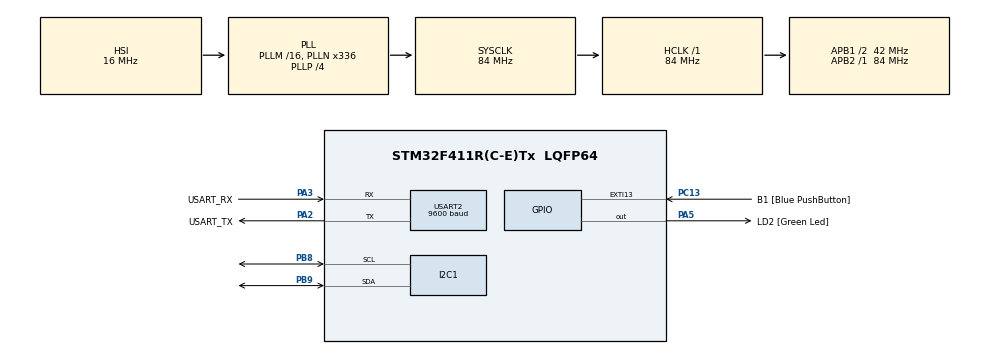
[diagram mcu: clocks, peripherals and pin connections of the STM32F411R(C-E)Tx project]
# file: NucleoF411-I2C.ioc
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Mcu.Family=STM32F4
Mcu.Name=STM32F411R(C-E)Tx
Mcu.Package=LQFP64
NVIC.PriorityGroup=NVIC_PRIORITYGROUP_0
PA13.GPIO_Label=TMS
PA13.Signal=SYS_JTMS-SWDIO
PA14.GPIO_Label=TCK
PA14.Signal=SYS_JTCK-SWCLK
PA2.GPIO_Label=USART_TX
PA2.Mode=Asynchronous
PA2.Signal=USART2_TX
PA3.GPIO_Label=USART_RX
PA3.Mode=Asynchronous
PA3.Signal=USART2_RX
PA5.GPIO_Label=LD2 [Green Led]
PA5.Signal=GPIO_Output
PB3.GPIO_Label=SWO
PB3.Signal=SYS_JTDO-SWO
PB8.Mode=I2C
PB8.Signal=I2C1_SCL
PB9.Mode=I2C
PB9.Signal=I2C1_SDA
PC13-ANTI_TAMP.GPIO_Label=B1 [Blue PushButton]
PC13-ANTI_TAMP.GPIO_ModeDefaultEXTI=GPIO_MODE_IT_FALLING
PC13-ANTI_TAMP.Signal=GPXTI13
PC14-OSC32_IN.Signal=RCC_OSC32_IN
PC15-OSC32_OUT.Signal=RCC_OSC32_OUT
PH0\ -\ OSC_IN.Signal=RCC_OSC_IN
PH1\ -\ OSC_OUT.Signal=RCC_OSC_OUT
ProjectManager.HeapSize=0x200
ProjectManager.StackSize=0x400
ProjectManager.TargetToolchain=SW4STM32
RCC.48MHZClocksFreq_Value=84000000
RCC.AHBFreq_Value=84000000
RCC.APB1CLKDivider=RCC_HCLK_DIV2
RCC.APB1Freq_Value=42000000
RCC.APB1TimFreq_Value=84000000
RCC.APB2Freq_Value=84000000
RCC.APB2TimFreq_Value=84000000
RCC.CortexFreq_Value=84000000
RCC.FLatency-AdvancedSettings=FLASH_LATENCY_2
RCC.HCLKFreq_Value=84000000
RCC.HSE_VALUE=8000000
RCC.HSI_VALUE=16000000
RCC.LSE_VALUE=32768
RCC.PLLN=336
RCC.PLLP=RCC_PLLP_DIV4
RCC.SYSCLKFreq_VALUE=84000000
RCC.SYSCLKSource=RCC_SYSCLKSOURCE_PLLCLK
RCC.VCOOutputFreq_Value=336000000
USART2.BaudRate=9600
USART2.VirtualMode=VM_ASYNC
board=NUCLEO-F411RE

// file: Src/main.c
/**
  ******************************************************************************
  * File Name          : main.c
  * Description        : Main program body
  ******************************************************************************
  ** This notice applies to any and all portions of this file
  * that are not between comment pairs USER CODE BEGIN and
  * USER CODE END. Other portions of this file, whether
  * inserted by the user or by software development tools
  * are owned by their respective copyright owners.
  *
  * COPYRIGHT(c) 2017 STMicroelectronics
  *
  * Redistribution and use in source and binary forms, with or without modification,
  * are permitted provided that the following conditions are met:
  *   1. Redistributions of source code must retain the above copyright notice,
  *      this list of conditions and the following disclaimer.
  *   2. Redistributions in binary form must reproduce the above copyright notice,
  *      this list of conditions and the following disclaimer in the documentation
  *      and/or other materials provided with the distribution.
  *   3. Neither the name of STMicroelectronics nor the names of its contributors
  *      may be used to endorse or promote products derived from this software
  *      without specific prior written permission.
  *
  * THIS SOFTWARE IS PROVIDED BY THE COPYRIGHT HOLDERS AND CONTRIBUTORS "AS IS"
  * AND ANY EXPRESS OR IMPLIED WARRANTIES, INCLUDING, BUT NOT LIMITED TO, THE
  * IMPLIED WARRANTIES OF MERCHANTABILITY AND FITNESS FOR A PARTICULAR PURPOSE ARE
  * DISCLAIMED. IN NO EVENT SHALL THE COPYRIGHT HOLDER OR CONTRIBUTORS BE LIABLE
  * FOR ANY DIRECT, INDIRECT, INCIDENTAL, SPECIAL, EXEMPLARY, OR CONSEQUENTIAL
  * DAMAGES (INCLUDING, BUT NOT LIMITED TO, PROCUREMENT OF SUBSTITUTE GOODS OR
  * SERVICES; LOSS OF USE, DATA, OR PROFITS; OR BUSINESS INTERRUPTION) HOWEVER
  * CAUSED AND ON ANY THEORY OF LIABILITY, WHETHER IN CONTRACT, STRICT LIABILITY,
  * OR TORT (INCLUDING NEGLIGENCE OR OTHERWISE) ARISING IN ANY WAY OUT OF THE USE
  * OF THIS SOFTWARE, EVEN IF ADVISED OF THE POSSIBILITY OF SUCH DAMAGE.
  *
  ******************************************************************************
  */
#include "main.h"
#include "stm32f4xx_hal.h"

I2C_HandleTypeDef hi2c1;

UART_HandleTypeDef huart2;

/* USER CODE BEGIN PV */
/* Private variables ---------------------------------------------------------*/

/* USER CODE END PV */

void SystemClock_Config(void);
static void MX_GPIO_Init(void);
static void MX_USART2_UART_Init(void);
static void MX_I2C1_Init(void);

/* USER CODE BEGIN PFP */
/* Private function prototypes -----------------------------------------------*/

#define MLX90614_I2CADDR (0x5A<<1)
#define MLX90614_TOBJ1 0x07
#define MLX90614_TIMEOUT 50

/* USER CODE END PFP */

/* USER CODE BEGIN 0 */
int _write( int file, char *ptr, int len )
{
  HAL_UART_Transmit(&huart2,(uint8_t*) ptr, len, 1000);
  return len;
}

/* USER CODE END 0 */

int main(void)
{

  /* MCU Configuration----------------------------------------------------------*/

  /* Reset of all peripherals, Initializes the Flash interface and the Systick. */
  HAL_Init();

  /* Configure the system clock */
  SystemClock_Config();

  /* Initialize all configured peripherals */
  MX_GPIO_Init();
  MX_USART2_UART_Init();
  MX_I2C1_Init();

  /* USER CODE BEGIN 2 */
  uint8_t ret[3];
  int16_t res;
  int16_t temp;
  float tempf;

  /* USER CODE END 2 */

  /* Infinite loop */
  while (1)
  {

  /* USER CODE BEGIN 3 */
	  HAL_I2C_Mem_Read(&hi2c1,
			  	  	  	  MLX90614_I2CADDR,
						  MLX90614_TOBJ1,
						  I2C_MEMADD_SIZE_8BIT,
						  (uint8_t*) ret,
						  3,
						  MLX90614_TIMEOUT);
	  res=ret[0]+(ret[1]<<8);
	  temp=res;
	  temp=2*temp;
	  temp=temp-27315;
	  tempf =temp/100.0f;
	  printf("bjectTemp: %2.2f \n",tempf);
	  HAL_Delay(500);

  }
  /* USER CODE END 3 */

}

/** System Clock Configuration
*/
void SystemClock_Config(void)
{

  RCC_OscInitTypeDef RCC_OscInitStruct;
  RCC_ClkInitTypeDef RCC_ClkInitStruct;

    /**Configure the main internal regulator output voltage
    */
  __HAL_RCC_PWR_CLK_ENABLE();

  __HAL_PWR_VOLTAGESCALING_CONFIG(PWR_REGULATOR_VOLTAGE_SCALE1);

    /**Initializes the CPU, AHB and APB busses clocks
    */
  RCC_OscInitStruct.OscillatorType = RCC_OSCILLATORTYPE_HSI;
  RCC_OscInitStruct.HSIState = RCC_HSI_ON;
  RCC_OscInitStruct.HSICalibrationValue = 16;
  RCC_OscInitStruct.PLL.PLLState = RCC_PLL_ON;
  RCC_OscInitStruct.PLL.PLLSource = RCC_PLLSOURCE_HSI;
  RCC_OscInitStruct.PLL.PLLM = 16;
  RCC_OscInitStruct.PLL.PLLN = 336;
  RCC_OscInitStruct.PLL.PLLP = RCC_PLLP_DIV4;
  RCC_OscInitStruct.PLL.PLLQ = 4;
  if (HAL_RCC_OscConfig(&RCC_OscInitStruct) != HAL_OK)
  {
    _Error_Handler(__FILE__, __LINE__);
  }

    /**Initializes the CPU, AHB and APB busses clocks
    */
  RCC_ClkInitStruct.ClockType = RCC_CLOCKTYPE_HCLK|RCC_CLOCKTYPE_SYSCLK
                              |RCC_CLOCKTYPE_PCLK1|RCC_CLOCKTYPE_PCLK2;
  RCC_ClkInitStruct.SYSCLKSource = RCC_SYSCLKSOURCE_PLLCLK;
  RCC_ClkInitStruct.AHBCLKDivider = RCC_SYSCLK_DIV1;
  RCC_ClkInitStruct.APB1CLKDivider = RCC_HCLK_DIV2;
  RCC_ClkInitStruct.APB2CLKDivider = RCC_HCLK_DIV1;

  if (HAL_RCC_ClockConfig(&RCC_ClkInitStruct, FLASH_LATENCY_2) != HAL_OK)
  {
    _Error_Handler(__FILE__, __LINE__);
  }

    /**Configure the Systick interrupt time
    */
  HAL_SYSTICK_Config(HAL_RCC_GetHCLKFreq()/1000);

    /**Configure the Systick
    */
  HAL_SYSTICK_CLKSourceConfig(SYSTICK_CLKSOURCE_HCLK);

  /* SysTick_IRQn interrupt configuration */
  HAL_NVIC_SetPriority(SysTick_IRQn, 0, 0);
}

/* I2C1 init function */
static void MX_I2C1_Init(void)
{

  hi2c1.Instance = I2C1;
  hi2c1.Init.ClockSpeed = 100000;
  hi2c1.Init.DutyCycle = I2C_DUTYCYCLE_2;
  hi2c1.Init.OwnAddress1 = 0;
  hi2c1.Init.AddressingMode = I2C_ADDRESSINGMODE_7BIT;
  hi2c1.Init.DualAddressMode = I2C_DUALADDRESS_DISABLE;
  hi2c1.Init.OwnAddress2 = 0;
  hi2c1.Init.GeneralCallMode = I2C_GENERALCALL_DISABLE;
  hi2c1.Init.NoStretchMode = I2C_NOSTRETCH_DISABLE;
  if (HAL_I2C_Init(&hi2c1) != HAL_OK)
  {
    _Error_Handler(__FILE__, __LINE__);
  }

}

/* USART2 init function */
static void MX_USART2_UART_Init(void)
{

  huart2.Instance = USART2;
  huart2.Init.BaudRate = 9600;
  huart2.Init.WordLength = UART_WORDLENGTH_8B;
  huart2.Init.StopBits = UART_STOPBITS_1;
  huart2.Init.Parity = UART_PARITY_NONE;
  huart2.Init.Mode = UART_MODE_TX_RX;
  huart2.Init.HwFlowCtl = UART_HWCONTROL_NONE;
  huart2.Init.OverSampling = UART_OVERSAMPLING_16;
  if (HAL_UART_Init(&huart2) != HAL_OK)
  {
    _Error_Handler(__FILE__, __LINE__);
  }

}

/** Configure pins as
        * Analog
        * Input
        * Output
        * EVENT_OUT
        * EXTI
*/
static void MX_GPIO_Init(void)
{

  GPIO_InitTypeDef GPIO_InitStruct;

  /* GPIO Ports Clock Enable */
  __HAL_RCC_GPIOC_CLK_ENABLE();
  __HAL_RCC_GPIOH_CLK_ENABLE();
  __HAL_RCC_GPIOA_CLK_ENABLE();
  __HAL_RCC_GPIOB_CLK_ENABLE();

  /*Configure GPIO pin Output Level */
  HAL_GPIO_WritePin(LD2_GPIO_Port, LD2_Pin, GPIO_PIN_RESET);

  /*Configure GPIO pin : B1_Pin */
  GPIO_InitStruct.Pin = B1_Pin;
  GPIO_InitStruct.Mode = GPIO_MODE_IT_FALLING;
  GPIO_InitStruct.Pull = GPIO_NOPULL;
  HAL_GPIO_Init(B1_GPIO_Port, &GPIO_InitStruct);

  /*Configure GPIO pin : LD2_Pin */
  GPIO_InitStruct.Pin = LD2_Pin;
  GPIO_InitStruct.Mode = GPIO_MODE_OUTPUT_PP;
  GPIO_InitStruct.Pull = GPIO_NOPULL;
  GPIO_InitStruct.Speed = GPIO_SPEED_FREQ_LOW;
  HAL_GPIO_Init(LD2_GPIO_Port, &GPIO_InitStruct);

}

void _Error_Handler(char * file, int line)
{
  while(1)
  {
  }
}

/************************ (C) COPYRIGHT STMicroelectronics *****END OF FILE****/
